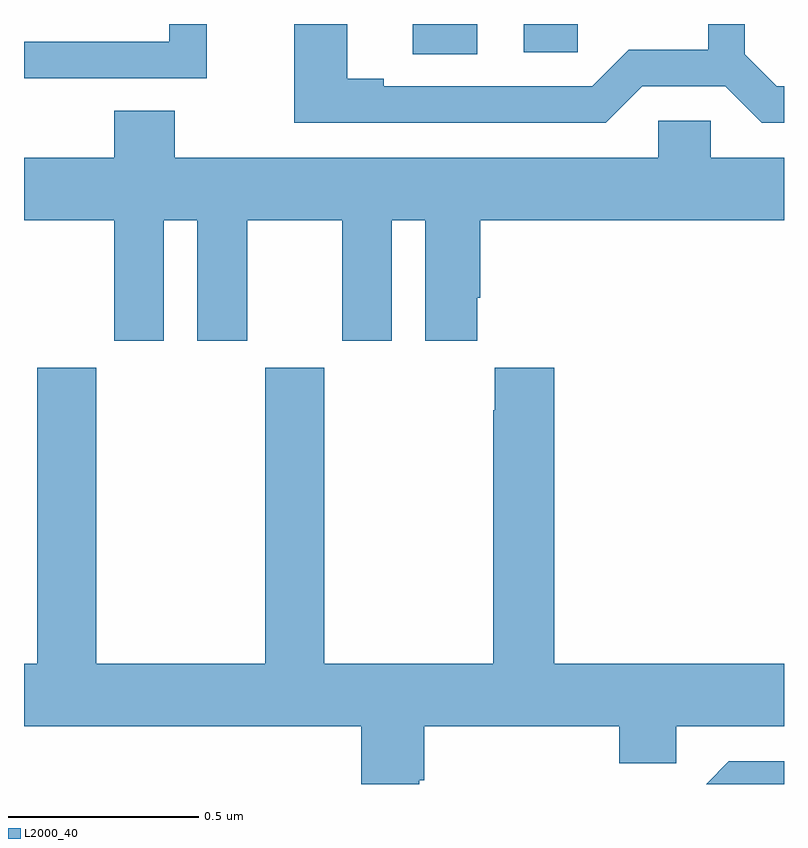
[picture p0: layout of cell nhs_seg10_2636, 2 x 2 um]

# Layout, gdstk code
import gdstk
lib = gdstk.Library(unit=1e-6, precision=1e-09)
def R(c, l, rs):  # rectangles x0, y0, x1, y1
    for r in rs: c.add(gdstk.rectangle(r[:2], r[2:], *l))
def P(c, l, *ps):  # polygons
    for p in ps: c.add(gdstk.Polygon(p, *l))
L2000_40 = (2000, 40)

nhs_seg10_2636 = lib.new_cell('nhs_seg10_2636')
R(nhs_seg10_2636, L2000_40, [(144.023,1299.421,144.193,1299.5), (144.315,1299.426,144.457,1299.5)])
P(nhs_seg10_2636, L2000_40, [(143.481,1299.5),(143.382,1299.5),(143.382,1299.453),(143,1299.453),(143,1299.357),(143.481,1299.357)],
  [(144.627,1299.336),(144.845,1299.336),(144.941,1299.24),(145,1299.24),(145,1299.336),(144.981,1299.336),(144.897,1299.42),(144.897,1299.5),(144.801,1299.5),(144.801,1299.432),(144.591,1299.432),(144.495,1299.336),(143.947,1299.336),(143.947,1299.356),(143.851,1299.356),(143.851,1299.5),(143.711,1299.5),(143.711,1299.24),(144.531,1299.24)],
  [(143.397,1299.272),(143.237,1299.272),(143.237,1299.148),(143,1299.148),(143,1298.984),(143.237,1298.984),(143.237,1298.667),(143.368,1298.667),(143.368,1298.984),(143.456,1298.984),(143.456,1298.667),(143.587,1298.667),(143.587,1298.984),(143.837,1298.984),(143.837,1298.667),(143.968,1298.667),(143.968,1298.984),(144.056,1298.984),(144.056,1298.667),(144.193,1298.667),(144.193,1298.779),(144.2,1298.779),(144.2,1298.984),(145,1298.984),(145,1299.148),(144.807,1299.148),(144.807,1299.246),(144.669,1299.246),(144.669,1299.148),(143.397,1299.148)],
  [(144.04,1297.51),(144.053,1297.51),(144.053,1297.652),(144.566,1297.652),(144.566,1297.554),(144.717,1297.554),(144.717,1297.652),(145,1297.652),(145,1297.816),(144.395,1297.816),(144.395,1298.596),(144.239,1298.596),(144.239,1298.483),(144.235,1298.483),(144.235,1297.816),(143.79,1297.816),(143.79,1298.596),(143.635,1298.596),(143.635,1297.816),(143.19,1297.816),(143.19,1298.596),(143.035,1298.596),(143.035,1297.816),(143,1297.816),(143,1297.652),(143.888,1297.652),(143.888,1297.5),(144.04,1297.5)],
  [(145,1297.56),(144.855,1297.56),(144.795,1297.5),(145,1297.5)])

lib.write_gds('nhs_seg10_2636.gds')
